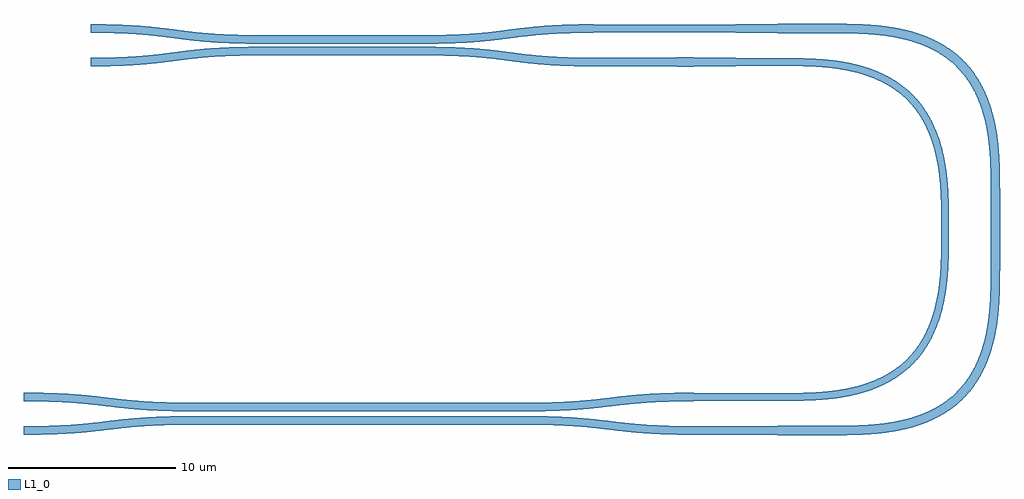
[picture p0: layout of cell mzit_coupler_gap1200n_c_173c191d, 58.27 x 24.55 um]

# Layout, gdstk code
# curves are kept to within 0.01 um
from math import pi, radians
import gdstk
lib = gdstk.Library(unit=1e-6, precision=1e-09)
def R(c, l, rs):  # rectangles x0, y0, x1, y1
    for r in rs: c.add(gdstk.rectangle(r[:2], r[2:], *l))
def P(c, l, *ps):  # polygons
    for p in ps: c.add(gdstk.Polygon(p, *l))
L1_0 = (1, 0)

coupler_dy2_gap300n_leng = lib.new_cell('coupler_dy2_gap300n_length20')
R(coupler_dy2_gap300n_leng, L1_0, [(0,-0.25,20,0.25), (0,0.55,20,1.05)])
P(coupler_dy2_gap300n_leng, L1_0, [(0,-0.25),(-1.378,-0.267),(-2.807,-0.333),(-3.956,-0.432),(-6.244,-0.691),(-7.361,-0.779),(-8.735,-0.836),(-10,-0.85),(-10,-0.35),(-8.622,-0.333),(-7.193,-0.267),(-6.044,-0.168),(-3.756,0.091),(-2.639,0.179),(-1.265,0.236),(0,0.25)],
  [(0,1.05),(-1.378,1.067),(-2.807,1.133),(-3.956,1.232),(-6.244,1.491),(-7.361,1.579),(-8.735,1.636),(-10,1.65),(-10,1.15),(-8.622,1.133),(-7.193,1.067),(-6.044,0.968),(-3.756,0.709),(-2.639,0.621),(-1.265,0.564),(0,0.55)],
  [(20,1.05),(21.378,1.067),(22.807,1.133),(23.956,1.232),(26.244,1.491),(27.361,1.579),(28.735,1.636),(30,1.65),(30,1.15),(28.622,1.133),(27.193,1.067),(26.044,0.968),(23.756,0.709),(22.639,0.621),(21.265,0.564),(20,0.55)],
  [(20,-0.25),(21.378,-0.267),(22.807,-0.333),(23.956,-0.432),(26.244,-0.691),(27.361,-0.779),(28.735,-0.836),(30,-0.85),(30,-0.35),(28.622,-0.333),(27.193,-0.267),(26.044,-0.168),(23.756,0.091),(22.639,0.179),(21.265,0.236),(20,0.25)])

taper_length5_width1500_ = lib.new_cell('taper_length5_width1500_6197302c')
P(taper_length5_width1500_, L1_0, [(0,0.25),(5,0.225),(5,-0.225),(0,-0.25)])

bend_euler_radius10_widt = lib.new_cell('bend_euler_radius10_width450n')
P(bend_euler_radius10_widt, L1_0, [(0,-0.225),(1.602,-0.21),(2.312,-0.18),(2.928,-0.133),(3.496,-0.068),(3.969,0.005),(4.812,0.187),(5.32,0.335),(5.819,0.514),(6.263,0.706),(6.652,0.904),(7.069,1.152),(7.389,1.373),(7.732,1.646),(8.02,1.91),(8.322,2.231),(8.627,2.611),(8.848,2.931),(9.073,3.306),(9.294,3.737),(9.486,4.181),(9.635,4.588),(9.788,5.095),(9.987,5.984),(10.068,6.504),(10.133,7.072),(10.18,7.688),(10.21,8.398),(10.225,10),(9.775,10),(9.756,8.272),(9.728,7.668),(9.676,7.022),(9.603,6.427),(9.51,5.883),(9.389,5.346),(9.237,4.818),(8.962,4.094),(8.635,3.446),(8.395,3.062),(8.183,2.77),(7.769,2.295),(7.508,2.047),(7.266,1.845),(7.012,1.656),(6.671,1.434),(6.356,1.255),(5.947,1.056),(5.611,0.916),(5.182,0.763),(4.654,0.611),(4.117,0.49),(3.573,0.397),(2.978,0.324),(2.332,0.272),(1.728,0.244),(0,0.225)])

taper_length5_width1450_ = lib.new_cell('taper_length5_width1450_272160ef')
P(taper_length5_width1450_, L1_0, [(0,0.225),(5,0.275),(5,-0.275),(0,-0.225)])

straight_length1_width55 = lib.new_cell('straight_length1_width550n')
R(straight_length1_width55, L1_0, [(0,-0.275,1,0.275)])

taper_length5_width1550_ = lib.new_cell('taper_length5_width1550_41f84c30')
P(taper_length5_width1550_, L1_0, [(0,0.275),(5,0.25),(5,-0.25),(0,-0.275)])

c_taper_length5_width1500_ = lib.new_cell('taper_length5_width1500_eb6c0ed2')
P(c_taper_length5_width1500_, L1_0, [(0,0.25),(5,0.275),(5,-0.275),(0,-0.25)])

straight_length3_width55 = lib.new_cell('straight_length3_width550n')
R(straight_length3_width55, L1_0, [(0,-0.275,3,0.275)])

c_bend_euler_radius10_widt = lib.new_cell('bend_euler_radius10_width550n')
P(c_bend_euler_radius10_widt, L1_0, [(0,-0.275),(1.603,-0.26),(2.362,-0.227),(2.885,-0.187),(3.455,-0.124),(4.025,-0.036),(4.871,0.151),(5.382,0.303),(5.793,0.45),(6.24,0.64),(6.676,0.86),(7.096,1.11),(7.419,1.333),(7.765,1.608),(8.02,1.84),(8.327,2.161),(8.638,2.542),(8.89,2.904),(9.14,3.324),(9.36,3.76),(9.55,4.207),(9.697,4.618),(9.849,5.129),(10.036,5.975),(10.124,6.545),(10.187,7.115),(10.227,7.638),(10.26,8.397),(10.275,10),(9.725,10),(9.706,8.273),(9.678,7.671),(9.626,7.027),(9.56,6.48),(9.443,5.803),(9.329,5.314),(9.161,4.748),(8.898,4.073),(8.742,3.748),(8.546,3.393),(8.328,3.053),(8.116,2.765),(7.702,2.298),(7.235,1.884),(6.947,1.672),(6.607,1.454),(6.252,1.258),(5.927,1.102),(5.252,0.839),(4.686,0.671),(4.197,0.557),(3.52,0.44),(2.973,0.374),(2.329,0.322),(1.727,0.294),(0,0.275)])

straight_length4_width55 = lib.new_cell('straight_length4_width550n')
R(straight_length4_width55, L1_0, [(0,-0.275,4,0.275)])

c_taper_length5_width1550_ = lib.new_cell('taper_length5_width1550_ab60e40e')
P(c_taper_length5_width1550_, L1_0, [(0,0.275),(5,0.225),(5,-0.225),(0,-0.275)])

straight_length1_width45 = lib.new_cell('straight_length1_width450n')
R(straight_length1_width45, L1_0, [(0,-0.225,1,0.225)])

c_taper_length5_width1450_ = lib.new_cell('taper_length5_width1450_d1c96003')
P(c_taper_length5_width1450_, L1_0, [(0,0.225),(5,0.25),(5,-0.25),(0,-0.225)])

coupler_dy2_gap200n_leng = lib.new_cell('coupler_dy2_gap200n_length10')
R(coupler_dy2_gap200n_leng, L1_0, [(0,-0.25,10,0.25), (0,0.45,10,0.95)])
P(coupler_dy2_gap200n_leng, L1_0, [(0,-0.25),(-1.621,-0.277),(-2.902,-0.347),(-4.035,-0.456),(-6.157,-0.718),(-7.36,-0.823),(-8.608,-0.881),(-10,-0.9),(-10,-0.4),(-8.379,-0.373),(-7.098,-0.303),(-5.965,-0.194),(-3.843,0.068),(-2.64,0.173),(-1.392,0.231),(0,0.25)],
  [(0,0.95),(-1.621,0.977),(-2.902,1.047),(-4.035,1.156),(-6.157,1.418),(-7.36,1.523),(-8.608,1.581),(-10,1.6),(-10,1.1),(-8.379,1.073),(-7.098,1.003),(-5.965,0.894),(-3.843,0.632),(-2.64,0.527),(-1.392,0.469),(0,0.45)],
  [(10,0.95),(11.621,0.977),(12.902,1.047),(14.035,1.156),(16.157,1.418),(17.36,1.523),(18.608,1.581),(20,1.6),(20,1.1),(18.379,1.073),(17.098,1.003),(15.965,0.894),(13.843,0.632),(12.64,0.527),(11.392,0.469),(10,0.45)],
  [(10,-0.25),(11.621,-0.277),(12.902,-0.347),(14.035,-0.456),(16.157,-0.718),(17.36,-0.823),(18.608,-0.881),(20,-0.9),(20,-0.4),(18.379,-0.373),(17.098,-0.303),(15.965,-0.194),(13.843,0.068),(12.64,0.173),(11.392,0.231),(10,0.25)])

mzit_coupler_gap1200n_c_ = lib.new_cell('mzit_coupler_gap1200n_c_173c191d')
mzit_coupler_gap1200n_c_.add(gdstk.Reference(coupler_dy2_gap300n_leng, (0,0)))
mzit_coupler_gap1200n_c_.add(gdstk.Reference(taper_length5_width1500_, (30,1.4)))
mzit_coupler_gap1200n_c_.add(gdstk.Reference(bend_euler_radius10_widt, (45,11.4), rotation=pi/2))
mzit_coupler_gap1200n_c_.add(gdstk.Reference(bend_euler_radius10_widt, (35,1.4)))
mzit_coupler_gap1200n_c_.add(gdstk.Reference(taper_length5_width1450_, (35,21.4), rotation=pi))
mzit_coupler_gap1200n_c_.add(gdstk.Reference(straight_length1_width55, (30,21.4), rotation=pi))
mzit_coupler_gap1200n_c_.add(gdstk.Reference(taper_length5_width1550_, (29,21.4), rotation=pi))
mzit_coupler_gap1200n_c_.add(gdstk.Reference(c_taper_length5_width1500_, (30,-0.6)))
mzit_coupler_gap1200n_c_.add(gdstk.Reference(straight_length3_width55, (35,-0.6)))
mzit_coupler_gap1200n_c_.add(gdstk.Reference(c_bend_euler_radius10_widt, (48,13.4), rotation=pi/2))
mzit_coupler_gap1200n_c_.add(gdstk.Reference(c_bend_euler_radius10_widt, (38,-0.6)))
mzit_coupler_gap1200n_c_.add(gdstk.Reference(straight_length4_width55, (48,9.4), rotation=pi/2))
mzit_coupler_gap1200n_c_.add(gdstk.Reference(straight_length3_width55, (38,23.4), rotation=pi))
mzit_coupler_gap1200n_c_.add(gdstk.Reference(c_taper_length5_width1550_, (35,23.4), rotation=pi))
mzit_coupler_gap1200n_c_.add(gdstk.Reference(straight_length1_width45, (30,23.4), rotation=pi))
mzit_coupler_gap1200n_c_.add(gdstk.Reference(c_taper_length5_width1450_, (29,23.4), rotation=pi))
mzit_coupler_gap1200n_c_.add(gdstk.Reference(coupler_dy2_gap200n_leng, (4,22.05)))

lib.write_gds('mzit_coupler_gap1200n_c_173c191d.gds')
